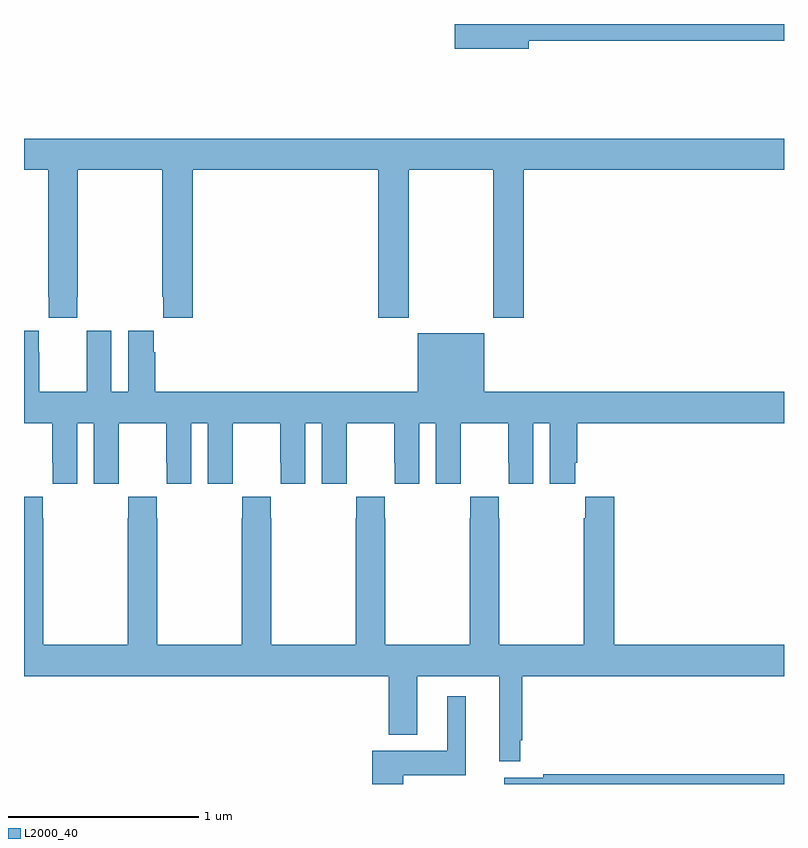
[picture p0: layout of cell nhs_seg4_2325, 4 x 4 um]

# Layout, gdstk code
import gdstk
lib = gdstk.Library(unit=1e-6, precision=1e-09)
def P(c, l, *ps):  # polygons
    for p in ps: c.add(gdstk.Polygon(p, *l))
L2000_40 = (2000, 40)

nhs_seg4_2325 = lib.new_cell('nhs_seg4_2325')
P(nhs_seg4_2325, L2000_40, [(233.656,818.812),(235,818.812),(235,818.9),(233.268,818.9),(233.268,818.77),(233.656,818.77)],
  [(231.279,817.465),(231.282,817.465),(231.282,818.132),(231.727,818.132),(231.727,817.465),(231.733,817.465),(231.733,817.353),(231.887,817.353),(231.887,818.132),(232.865,818.132),(232.865,817.353),(233.025,817.353),(233.025,818.132),(233.47,818.132),(233.47,817.353),(233.63,817.353),(233.63,818.132),(235,818.132),(235,818.296),(231,818.296),(231,818.132),(231.127,818.132),(231.127,817.465),(231.129,817.465),(231.129,817.353),(231.279,817.353)],
  [(231.692,817.172),(231.682,817.172),(231.682,817.285),(231.548,817.285),(231.548,816.964),(231.46,816.964),(231.46,817.285),(231.33,817.285),(231.33,817.172),(231.329,817.172),(231.329,816.964),(231.079,816.964),(231.079,817.172),(231.078,817.172),(231.078,817.285),(231,817.285),(231,816.8),(231.149,816.8),(231.149,816.592),(231.15,816.592),(231.15,816.48),(231.28,816.48),(231.28,816.8),(231.368,816.8),(231.368,816.48),(231.498,816.48),(231.498,816.592),(231.499,816.592),(231.499,816.8),(231.749,816.8),(231.749,816.592),(231.75,816.592),(231.75,816.48),(231.88,816.48),(231.88,816.8),(231.968,816.8),(231.968,816.48),(232.098,816.48),(232.098,816.592),(232.099,816.592),(232.099,816.8),(232.349,816.8),(232.349,816.592),(232.35,816.592),(232.35,816.48),(232.48,816.48),(232.48,816.8),(232.568,816.8),(232.568,816.48),(232.698,816.48),(232.698,816.592),(232.699,816.592),(232.699,816.8),(232.949,816.8),(232.949,816.592),(232.95,816.592),(232.95,816.48),(233.08,816.48),(233.08,816.8),(233.168,816.8),(233.168,816.48),(233.298,816.48),(233.298,816.592),(233.299,816.592),(233.299,816.8),(233.549,816.8),(233.549,816.592),(233.55,816.592),(233.55,816.48),(233.68,816.48),(233.68,816.8),(233.768,816.8),(233.768,816.48),(233.902,816.48),(233.902,816.592),(233.912,816.592),(233.912,816.8),(235,816.8),(235,816.964),(233.422,816.964),(233.422,817.273),(233.072,817.273),(233.072,816.964),(231.692,816.964)],
  [(233.612,815.131),(233.623,815.131),(233.623,815.468),(235,815.468),(235,815.632),(234.107,815.632),(234.107,816.412),(233.953,816.412),(233.953,816.299),(233.947,816.299),(233.947,815.632),(233.502,815.632),(233.502,816.299),(233.499,816.299),(233.499,816.412),(233.349,816.412),(233.349,816.299),(233.347,816.299),(233.347,815.632),(232.902,815.632),(232.902,816.299),(232.899,816.299),(232.899,816.412),(232.749,816.412),(232.749,816.299),(232.747,816.299),(232.747,815.632),(232.302,815.632),(232.302,816.299),(232.299,816.299),(232.299,816.412),(232.149,816.412),(232.149,816.299),(232.147,816.299),(232.147,815.632),(231.702,815.632),(231.702,816.299),(231.699,816.299),(231.699,816.412),(231.549,816.412),(231.549,816.299),(231.547,816.299),(231.547,815.632),(231.102,815.632),(231.102,816.299),(231.099,816.299),(231.099,816.412),(231,816.412),(231,815.468),(232.919,815.468),(232.919,815.159),(233.071,815.159),(233.071,815.468),(233.501,815.468),(233.501,815.019),(233.612,815.019)],
  [(232.996,814.946),(233.326,814.946),(233.326,815.362),(233.228,815.362),(233.228,815.074),(232.832,815.074),(232.832,814.9),(232.996,814.9)],
  [(235,814.952),(233.734,814.952),(233.734,814.932),(233.528,814.932),(233.528,814.9),(235,814.9)])

lib.write_gds('nhs_seg4_2325.gds')
